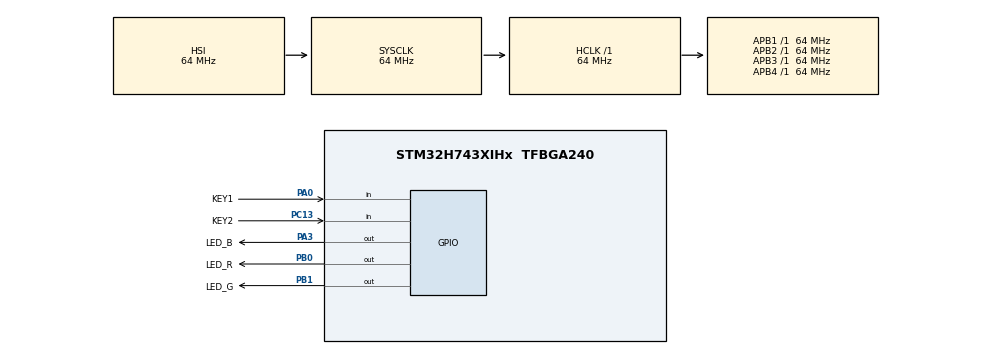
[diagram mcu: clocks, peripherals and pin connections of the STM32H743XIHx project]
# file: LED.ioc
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CORTEX_M7.default_mode_Activation=1
Mcu.Family=STM32H7
Mcu.Name=STM32H743XIHx
Mcu.Package=TFBGA240
NVIC.PriorityGroup=NVIC_PRIORITYGROUP_4
PA0.GPIO_Label=KEY1
PA0.GPIO_PuPd=GPIO_PULLDOWN
PA0.Signal=GPIO_Input
PA3.GPIO_Label=LED_B
PA3.PinState=GPIO_PIN_SET
PA3.Signal=GPIO_Output
PB0.GPIO_Label=LED_R
PB0.PinState=GPIO_PIN_SET
PB0.Signal=GPIO_Output
PB1.GPIO_Label=LED_G
PB1.PinState=GPIO_PIN_SET
PB1.Signal=GPIO_Output
PC13.GPIO_Label=KEY2
PC13.GPIO_PuPd=GPIO_PULLDOWN
PC13.Signal=GPIO_Input
PC14-OSC32_IN\ (OSC32_IN).Mode=LSE-External-Oscillator
PC14-OSC32_IN\ (OSC32_IN).Signal=RCC_OSC32_IN
PC15-OSC32_OUT\ (OSC32_OUT).Mode=LSE-External-Oscillator
PC15-OSC32_OUT\ (OSC32_OUT).Signal=RCC_OSC32_OUT
PH0-OSC_IN\ (PH0).Mode=HSE-External-Oscillator
PH0-OSC_IN\ (PH0).Signal=RCC_OSC_IN
PH1-OSC_OUT\ (PH1).Mode=HSE-External-Oscillator
PH1-OSC_OUT\ (PH1).Signal=RCC_OSC_OUT
ProjectManager.HeapSize=0x200
ProjectManager.StackSize=0x400
ProjectManager.TargetToolchain=STM32CubeIDE
RCC.ADCFreq_Value=129000000
RCC.APB1Freq_Value=64000000
RCC.APB2Freq_Value=64000000
RCC.APB3Freq_Value=64000000
RCC.APB4Freq_Value=64000000
RCC.CortexFreq_Value=64000000
RCC.HCLKFreq_Value=64000000
RCC.SYSCLKFreq_VALUE=64000000
RCC.USBFreq_Value=129000000
board=custom

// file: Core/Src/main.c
/* USER CODE BEGIN Header */
/**
  ******************************************************************************
  * @file           : main.c
  * @brief          : Main program body
  ******************************************************************************
  * @attention
  *
  * Copyright (c) 2024 STMicroelectronics.
  * All rights reserved.
  *
  * This software is licensed under terms that can be found in the LICENSE file
  * in the root directory of this software component.
  * If no LICENSE file comes with this software, it is provided AS-IS.
  *
  ******************************************************************************
  */
/* USER CODE END Header */
#include "main.h"

void SystemClock_Config(void);
static void MPU_Config(void);
static void MX_GPIO_Init(void);

int main(void)
{

  /* MPU Configuration--------------------------------------------------------*/
  MPU_Config();

  /* MCU Configuration--------------------------------------------------------*/

  /* Reset of all peripherals, Initializes the Flash interface and the Systick. */
  HAL_Init();

  /* Configure the system clock */
  SystemClock_Config();

  /* Initialize all configured peripherals */
  MX_GPIO_Init();
  /* USER CODE BEGIN 2 */
  int i = 0, state = 0;
  /* USER CODE END 2 */

  /* Infinite loop */
  /* USER CODE BEGIN WHILE */
  while (1)
  {
	  if(HAL_GPIO_ReadPin(KEY1_GPIO_Port, KEY1_Pin) == GPIO_PIN_SET)			// KEY1按下
	  {
		  while(HAL_GPIO_ReadPin(KEY1_GPIO_Port, KEY1_Pin) == GPIO_PIN_SET);	// 防止多次触发
		  i++;
		  if(i == 1)															// 每按一次KEY1，红绿蓝三色LED依次亮起
		  {
			  HAL_GPIO_WritePin(LED_R_GPIO_Port, LED_R_Pin, GPIO_PIN_RESET);
			  HAL_GPIO_WritePin(LED_G_GPIO_Port, LED_G_Pin, GPIO_PIN_SET);
			  HAL_GPIO_WritePin(LED_B_GPIO_Port, LED_B_Pin, GPIO_PIN_SET);
		  }
		  else if(i == 2)
		  {
			  HAL_GPIO_WritePin(LED_R_GPIO_Port, LED_R_Pin, GPIO_PIN_SET);
			  HAL_GPIO_WritePin(LED_G_GPIO_Port, LED_G_Pin, GPIO_PIN_RESET);
			  HAL_GPIO_WritePin(LED_B_GPIO_Port, LED_B_Pin, GPIO_PIN_SET);
		  }
		  else
		  {
			  HAL_GPIO_WritePin(LED_R_GPIO_Port, LED_R_Pin, GPIO_PIN_SET);
			  HAL_GPIO_WritePin(LED_G_GPIO_Port, LED_G_Pin, GPIO_PIN_SET);
			  HAL_GPIO_WritePin(LED_B_GPIO_Port, LED_B_Pin, GPIO_PIN_RESET);
			  i = 0;
		  }
	  }

	  if(HAL_GPIO_ReadPin(KEY2_GPIO_Port, KEY2_Pin) == GPIO_PIN_SET)			// KEY2按下
	  {
		  while(HAL_GPIO_ReadPin(KEY2_GPIO_Port, KEY2_Pin) == GPIO_PIN_SET);	// 防止多次触发
		  while(1)
		  {
			  state++;
			  switch(state)														// 混色LED循环闪烁，间隔0.1秒
			  {
			  case 0:
			  {
				  HAL_GPIO_WritePin(LED_R_GPIO_Port, LED_R_Pin, GPIO_PIN_RESET);
				  HAL_GPIO_WritePin(LED_G_GPIO_Port, LED_G_Pin, GPIO_PIN_SET);
				  HAL_GPIO_WritePin(LED_B_GPIO_Port, LED_B_Pin, GPIO_PIN_SET);
				  break;
			  }
			  case 1:
			  {
				  HAL_GPIO_WritePin(LED_R_GPIO_Port, LED_R_Pin, GPIO_PIN_RESET);
				  HAL_GPIO_WritePin(LED_G_GPIO_Port, LED_G_Pin, GPIO_PIN_RESET);
				  HAL_GPIO_WritePin(LED_B_GPIO_Port, LED_B_Pin, GPIO_PIN_SET);
				  break;
			  }
			  case 2:
			  {
				  HAL_GPIO_WritePin(LED_R_GPIO_Port, LED_R_Pin, GPIO_PIN_RESET);
				  HAL_GPIO_WritePin(LED_G_GPIO_Port, LED_G_Pin, GPIO_PIN_RESET);
				  HAL_GPIO_WritePin(LED_B_GPIO_Port, LED_B_Pin, GPIO_PIN_RESET);
				  break;
			  }
			  case 3:
			  {
				  HAL_GPIO_WritePin(LED_R_GPIO_Port, LED_R_Pin, GPIO_PIN_SET);
				  HAL_GPIO_WritePin(LED_G_GPIO_Port, LED_G_Pin, GPIO_PIN_RESET);
				  HAL_GPIO_WritePin(LED_B_GPIO_Port, LED_B_Pin, GPIO_PIN_RESET);
				  break;
			  }
			  case 4:
			  {
				  HAL_GPIO_WritePin(LED_R_GPIO_Port, LED_R_Pin, GPIO_PIN_SET);
				  HAL_GPIO_WritePin(LED_G_GPIO_Port, LED_G_Pin, GPIO_PIN_SET);
				  HAL_GPIO_WritePin(LED_B_GPIO_Port, LED_B_Pin, GPIO_PIN_RESET);
				  break;
			  }
			  case 5:
			  {
				  HAL_GPIO_WritePin(LED_R_GPIO_Port, LED_R_Pin, GPIO_PIN_RESET);
				  HAL_GPIO_WritePin(LED_G_GPIO_Port, LED_G_Pin, GPIO_PIN_SET);
				  HAL_GPIO_WritePin(LED_B_GPIO_Port, LED_B_Pin, GPIO_PIN_RESET);
				  break;
			  }
			  default:
			  {
				  break;
			  }
			  }
			  HAL_Delay(100);
			  if(state > 5)														// 初始化循环状态
			  {
				  state = 0;
			  }
			  if(HAL_GPIO_ReadPin(KEY1_GPIO_Port, KEY1_Pin) == GPIO_PIN_SET)	// KEY1按下后，LED停止闪烁
			  {
				  while(HAL_GPIO_ReadPin(KEY1_GPIO_Port, KEY1_Pin) == GPIO_PIN_SET);
				  break;
			  }
		  }
	  }
    /* USER CODE END WHILE */

  }
}

void SystemClock_Config(void)
{
  RCC_OscInitTypeDef RCC_OscInitStruct = {0};
  RCC_ClkInitTypeDef RCC_ClkInitStruct = {0};

  /** Supply configuration update enable
  */
  HAL_PWREx_ConfigSupply(PWR_LDO_SUPPLY);

  /** Configure the main internal regulator output voltage
  */
  __HAL_PWR_VOLTAGESCALING_CONFIG(PWR_REGULATOR_VOLTAGE_SCALE3);

  while(!__HAL_PWR_GET_FLAG(PWR_FLAG_VOSRDY)) {}

  /** Initializes the RCC Oscillators according to the specified parameters
  * in the RCC_OscInitTypeDef structure.
  */
  RCC_OscInitStruct.OscillatorType = RCC_OSCILLATORTYPE_HSI;
  RCC_OscInitStruct.HSIState = RCC_HSI_DIV1;
  RCC_OscInitStruct.HSICalibrationValue = RCC_HSICALIBRATION_DEFAULT;
  RCC_OscInitStruct.PLL.PLLState = RCC_PLL_NONE;
  if (HAL_RCC_OscConfig(&RCC_OscInitStruct) != HAL_OK)
  {
    Error_Handler();
  }

  /** Initializes the CPU, AHB and APB buses clocks
  */
  RCC_ClkInitStruct.ClockType = RCC_CLOCKTYPE_HCLK|RCC_CLOCKTYPE_SYSCLK
                              |RCC_CLOCKTYPE_PCLK1|RCC_CLOCKTYPE_PCLK2
                              |RCC_CLOCKTYPE_D3PCLK1|RCC_CLOCKTYPE_D1PCLK1;
  RCC_ClkInitStruct.SYSCLKSource = RCC_SYSCLKSOURCE_HSI;
  RCC_ClkInitStruct.SYSCLKDivider = RCC_SYSCLK_DIV1;
  RCC_ClkInitStruct.AHBCLKDivider = RCC_HCLK_DIV1;
  RCC_ClkInitStruct.APB3CLKDivider = RCC_APB3_DIV1;
  RCC_ClkInitStruct.APB1CLKDivider = RCC_APB1_DIV1;
  RCC_ClkInitStruct.APB2CLKDivider = RCC_APB2_DIV1;
  RCC_ClkInitStruct.APB4CLKDivider = RCC_APB4_DIV1;

  if (HAL_RCC_ClockConfig(&RCC_ClkInitStruct, FLASH_LATENCY_1) != HAL_OK)
  {
    Error_Handler();
  }
}

static void MX_GPIO_Init(void)
{
  GPIO_InitTypeDef GPIO_InitStruct = {0};

  /* GPIO Ports Clock Enable */
  __HAL_RCC_GPIOC_CLK_ENABLE();
  __HAL_RCC_GPIOH_CLK_ENABLE();
  __HAL_RCC_GPIOA_CLK_ENABLE();
  __HAL_RCC_GPIOB_CLK_ENABLE();

  /*Configure GPIO pin Output Level */
  HAL_GPIO_WritePin(GPIOB, LED_G_Pin|LED_R_Pin, GPIO_PIN_SET);

  /*Configure GPIO pin Output Level */
  HAL_GPIO_WritePin(LED_B_GPIO_Port, LED_B_Pin, GPIO_PIN_SET);

  /*Configure GPIO pin : KEY2_Pin */
  GPIO_InitStruct.Pin = KEY2_Pin;
  GPIO_InitStruct.Mode = GPIO_MODE_INPUT;
  GPIO_InitStruct.Pull = GPIO_PULLDOWN;
  HAL_GPIO_Init(KEY2_GPIO_Port, &GPIO_InitStruct);

  /*Configure GPIO pin : KEY1_Pin */
  GPIO_InitStruct.Pin = KEY1_Pin;
  GPIO_InitStruct.Mode = GPIO_MODE_INPUT;
  GPIO_InitStruct.Pull = GPIO_PULLDOWN;
  HAL_GPIO_Init(KEY1_GPIO_Port, &GPIO_InitStruct);

  /*Configure GPIO pins : LED_G_Pin LED_R_Pin */
  GPIO_InitStruct.Pin = LED_G_Pin|LED_R_Pin;
  GPIO_InitStruct.Mode = GPIO_MODE_OUTPUT_PP;
  GPIO_InitStruct.Pull = GPIO_NOPULL;
  GPIO_InitStruct.Speed = GPIO_SPEED_FREQ_LOW;
  HAL_GPIO_Init(GPIOB, &GPIO_InitStruct);

  /*Configure GPIO pin : LED_B_Pin */
  GPIO_InitStruct.Pin = LED_B_Pin;
  GPIO_InitStruct.Mode = GPIO_MODE_OUTPUT_PP;
  GPIO_InitStruct.Pull = GPIO_NOPULL;
  GPIO_InitStruct.Speed = GPIO_SPEED_FREQ_LOW;
  HAL_GPIO_Init(LED_B_GPIO_Port, &GPIO_InitStruct);

}

 /* MPU Configuration */

void MPU_Config(void)
{
  MPU_Region_InitTypeDef MPU_InitStruct = {0};

  /* Disables the MPU */
  HAL_MPU_Disable();

  /** Initializes and configures the Region and the memory to be protected
  */
  MPU_InitStruct.Enable = MPU_REGION_ENABLE;
  MPU_InitStruct.Number = MPU_REGION_NUMBER0;
  MPU_InitStruct.BaseAddress = 0x0;
  MPU_InitStruct.Size = MPU_REGION_SIZE_4GB;
  MPU_InitStruct.SubRegionDisable = 0x87;
  MPU_InitStruct.TypeExtField = MPU_TEX_LEVEL0;
  MPU_InitStruct.AccessPermission = MPU_REGION_NO_ACCESS;
  MPU_InitStruct.DisableExec = MPU_INSTRUCTION_ACCESS_DISABLE;
  MPU_InitStruct.IsShareable = MPU_ACCESS_SHAREABLE;
  MPU_InitStruct.IsCacheable = MPU_ACCESS_NOT_CACHEABLE;
  MPU_InitStruct.IsBufferable = MPU_ACCESS_NOT_BUFFERABLE;

  HAL_MPU_ConfigRegion(&MPU_InitStruct);
  /* Enables the MPU */
  HAL_MPU_Enable(MPU_PRIVILEGED_DEFAULT);

}

void Error_Handler(void)
{
  __disable_irq();
  while (1)
  {
  }
}
